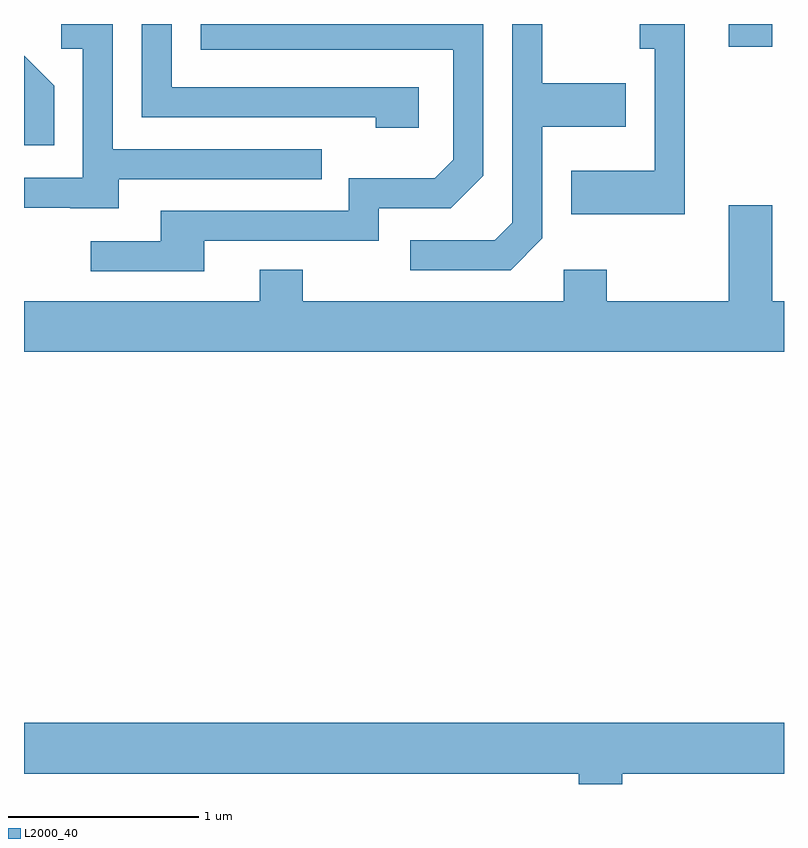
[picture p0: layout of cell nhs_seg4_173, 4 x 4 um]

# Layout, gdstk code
import gdstk
lib = gdstk.Library(unit=1e-6, precision=1e-09)
def R(c, l, rs):  # rectangles x0, y0, x1, y1
    for r in rs: c.add(gdstk.rectangle(r[:2], r[2:], *l))
def P(c, l, *ps):  # polygons
    for p in ps: c.add(gdstk.Polygon(p, *l))
L2000_40 = (2000, 40)

nhs_seg4_173 = lib.new_cell('nhs_seg4_173')
R(nhs_seg4_173, L2000_40, [(193.321,1331.861,193.549,1331.982)])
P(nhs_seg4_173, L2000_40, [(192.339,1330.854),(192.339,1331.441),(192.779,1331.441),(192.779,1331.669),(192.339,1331.669),(192.339,1331.982),(192.181,1331.982),(192.181,1330.937),(192.089,1330.844),(191.643,1330.844),(191.643,1330.686),(192.172,1330.686)],
  [(191.689,1331.649),(190.389,1331.649),(190.389,1331.982),(190.231,1331.982),(190.231,1331.491),(191.461,1331.491),(191.461,1331.436),(191.689,1331.436)],
  [(190.559,1330.841),(191.479,1330.841),(191.479,1331.011),(191.857,1331.011),(192.029,1331.184),(192.029,1331.982),(190.541,1331.982),(190.541,1331.846),(191.871,1331.846),(191.871,1331.267),(191.774,1331.169),(191.321,1331.169),(191.321,1330.999),(190.331,1330.999),(190.331,1330.839),(189.963,1330.839),(189.963,1330.681),(190.559,1330.681)],
  [(193.089,1331.982),(192.853,1331.982),(192.853,1331.851),(192.931,1331.851),(192.931,1331.209),(192.491,1331.209),(192.491,1330.981),(193.089,1330.981)],
  [(190.109,1331.166),(191.178,1331.166),(191.178,1331.324),(190.079,1331.324),(190.079,1331.982),(189.808,1331.982),(189.808,1331.851),(189.921,1331.851),(189.921,1331.174),(189.611,1331.174),(189.611,1331.016),(189.855,1331.016),(189.855,1331.011),(190.109,1331.011)],
  [(189.769,1331.657),(189.611,1331.815),(189.611,1331.343),(189.769,1331.343)],
  [(193.611,1330.524),(193.549,1330.524),(193.549,1331.029),(193.321,1331.029),(193.321,1330.524),(192.679,1330.524),(192.679,1330.689),(192.451,1330.689),(192.451,1330.524),(191.079,1330.524),(191.079,1330.689),(190.851,1330.689),(190.851,1330.524),(189.611,1330.524),(189.611,1330.256),(193.611,1330.256)],
  [(192.759,1328.036),(193.611,1328.036),(193.611,1328.304),(189.611,1328.304),(189.611,1328.036),(192.531,1328.036),(192.531,1327.982),(192.759,1327.982)])

lib.write_gds('nhs_seg4_173.gds')
